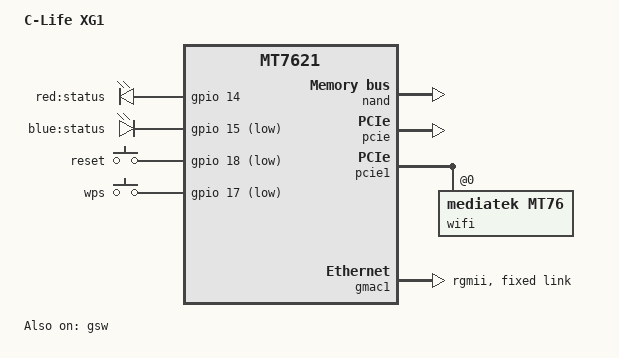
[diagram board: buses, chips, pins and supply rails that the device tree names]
// SPDX-License-Identifier: GPL-2.0-or-later OR MIT

#include "mt7621.dtsi"

#include <dt-bindings/gpio/gpio.h>
#include <dt-bindings/input/input.h>

/ {
	compatible = "c-life,xg1", "mediatek,mt7621-soc";
	model = "C-Life XG1";

	aliases {
		led-boot = &led_status_red;
		led-failsafe = &led_status_red;
		led-running = &led_status_blue;
		led-upgrade = &led_status_blue;
		label-mac-device = &gmac0;
	};

	chosen {
		bootargs = "console=ttyS0,115200";
	};

	leds {
		compatible = "gpio-leds";

		led_status_red: status_red {
			label = "red:status";
			gpios = <&gpio 14 GPIO_ACTIVE_HIGH>;
		};

		led_status_blue: status_blue {
			label = "blue:status";
			gpios = <&gpio 15 GPIO_ACTIVE_LOW>;
		};
	};

	keys {
		compatible = "gpio-keys";

		reset {
			label = "reset";
			gpios = <&gpio 18 GPIO_ACTIVE_LOW>;
			linux,code = <KEY_RESTART>;
		};

		wps {
			label = "wps";
			gpios = <&gpio 17 GPIO_ACTIVE_LOW>;
			linux,code = <KEY_WPS_BUTTON>;
		};
	};
};

&nand {
	status = "okay";

	partitions {
		compatible = "fixed-partitions";
		#address-cells = <1>;
		#size-cells = <1>;

		partition@0 {
			label = "Bootloader";
			reg = <0x0 0x80000>;
		};

		partition@80000 {
			label = "Nvram";
			reg = <0x80000 0x40000>;
			read-only;
		};

		partition@c0000 {
			label = "Bdata";
			reg = <0xc0000 0x40000>;
			read-only;
		};

		factory: partition@100000 {
			label = "Factory";
			reg = <0x100000 0x80000>;
			read-only;
		};

		partition@180000 {
			label = "crash";
			reg = <0x180000 0x40000>;
			read-only;
		};

		partition@1c0000 {
			label = "crash_log";
			reg = <0x1c0000 0x40000>;
			read-only;
		};

		partition@200000 {
			label = "kernel";
			reg = <0x200000 0x400000>;
		};

		partition@600000 {
			label = "ubi";
			reg = <0x600000 0x7980000>;
		};
	};
};

&pcie {
	status = "okay";
};

&pcie1 {
	wifi@0,0 {
		compatible = "mediatek,mt76";
		reg = <0x0000 0 0 0 0>;
		mediatek,mtd-eeprom = <&factory 0x0>;
	};
};

&gmac0 {
	mtd-mac-address = <&factory 0x04>;
};

&gmac1 {
	mtd-mac-address = <&factory 0x0a>;
	phy-mode = "rgmii";
	status = "okay";

	fixed-link {
		speed = <1000>;
		full-duplex;
		pause;
	};
};

&gsw {
	mediatek,portmap = "llllw";
	status = "okay";
};

&hnat {
	mtketh-wan = "eth1";
	mtketh-ppd = "eth0";
	mtketh-lan = "eth0";
	mtketh-max-gmac = <2>;
	/delete-property/ mtkdsa-wan-port;
};

&switch0 {
	status = "disabled";
};

&state_default {
	gpio {
		groups = "jtag", "wdt";
		function = "gpio";
	};
};
